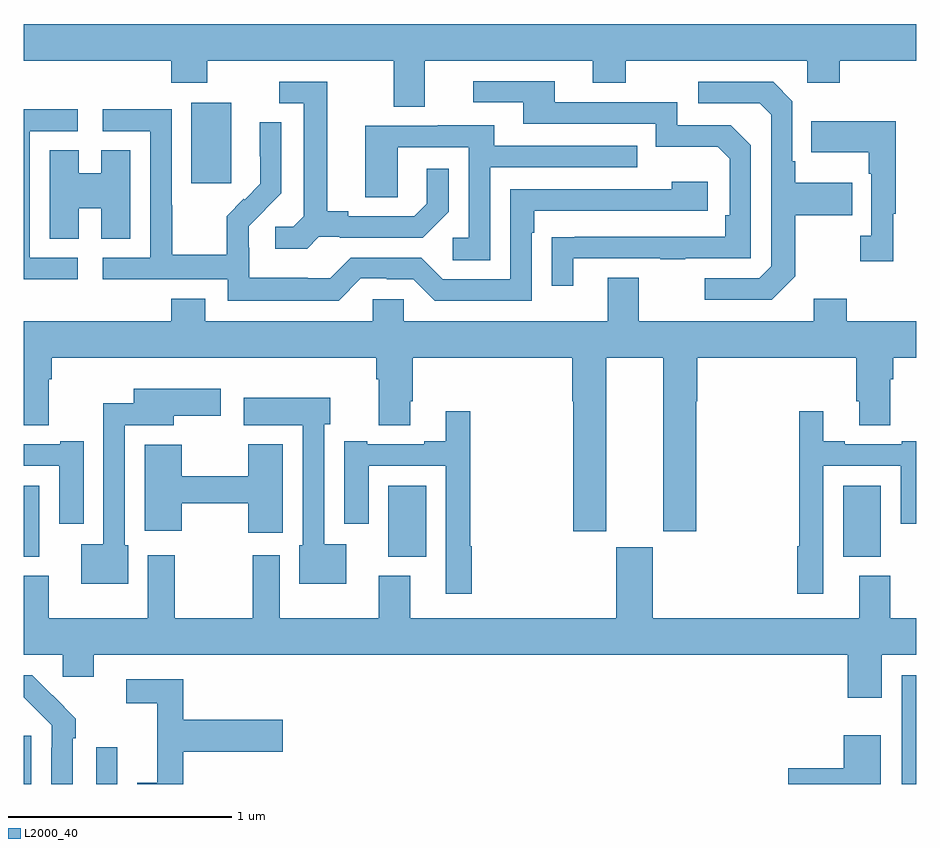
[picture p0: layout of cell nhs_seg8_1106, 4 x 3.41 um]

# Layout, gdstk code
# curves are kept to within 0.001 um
import gdstk
lib = gdstk.Library(unit=1e-6, precision=1e-09)
def R(c, l, rs):  # rectangles x0, y0, x1, y1
    for r in rs: c.add(gdstk.rectangle(r[:2], r[2:], *l))
def P(c, l, *ps):  # polygons
    for p in ps: c.add(gdstk.Polygon(p, *l))
L2000_40 = (2000, 40)

nhs_seg8_1106 = lib.new_cell('nhs_seg8_1106')
R(nhs_seg8_1106, L2000_40, [(181,1135.9,181.033,1136.116), (181.323,1135.9,181.419,1136.065), (184.935,1135.9,185,1136.388), (181,1136.918,181.069,1137.238), (182.633,1136.918,182.803,1137.238), (184.673,1136.918,184.843,1137.238), (181.751,1138.593,181.93,1138.954)])
P(nhs_seg8_1106, L2000_40, [(182.797,1139.144),(183.551,1139.144),(183.551,1139.045),(183.699,1139.045),(183.699,1139.144),(184.512,1139.144),(184.512,1139.045),(184.659,1139.045),(184.659,1139.144),(185,1139.144),(185,1139.308),(181,1139.308),(181,1139.144),(181.661,1139.144),(181.661,1139.045),(181.821,1139.045),(181.821,1139.144),(182.657,1139.144),(182.657,1138.936),(182.797,1138.936)],
  [(183.463,1138.257),(183.853,1138.257),(183.853,1138.252),(183.965,1138.252),(183.965,1138.257),(184.26,1138.257),(184.26,1138.764),(184.17,1138.854),(183.93,1138.854),(183.93,1138.956),(183.379,1138.956),(183.379,1139.052),(183.015,1139.052),(183.015,1138.956),(183.239,1138.956),(183.239,1138.86),(183.834,1138.86),(183.834,1138.757),(184.111,1138.757),(184.164,1138.704),(184.164,1138.45),(184.144,1138.45),(184.144,1138.353),(183.367,1138.352),(183.367,1138.134),(183.463,1138.134)],
  [(184.459,1138.177),(184.459,1138.45),(184.715,1138.45),(184.715,1138.597),(184.459,1138.597),(184.459,1138.693),(184.446,1138.693),(184.446,1138.962),(184.359,1139.049),(184.023,1139.049),(184.023,1138.953),(184.299,1138.953),(184.35,1138.902),(184.35,1138.221),(184.296,1138.167),(184.053,1138.167),(184.053,1138.071),(184.353,1138.071)],
  [(182.322,1138.353),(182.416,1138.353),(182.416,1138.35),(182.788,1138.35),(182.904,1138.466),(182.904,1138.66),(182.807,1138.66),(182.807,1138.503),(182.75,1138.446),(182.455,1138.446),(182.455,1138.469),(182.359,1138.469),(182.359,1139.049),(182.145,1139.049),(182.145,1138.953),(182.255,1138.953),(182.255,1138.445),(182.208,1138.398),(182.127,1138.398),(182.127,1138.301),(182.27,1138.301)],
  [(181.24,1138.26),(181.026,1138.26),(181.026,1138.827),(181.24,1138.827),(181.24,1138.926),(181,1138.926),(181,1138.164),(181.24,1138.164)],
  [(182.511,1138.167),(182.627,1138.167),(182.627,1138.164),(182.745,1138.164),(182.841,1138.068),(183.276,1138.068),(183.276,1138.373),(183.289,1138.373),(183.289,1138.47),(184.066,1138.47),(184.066,1138.6),(183.905,1138.6),(183.905,1138.566),(183.18,1138.566),(183.18,1138.164),(182.877,1138.164),(182.781,1138.26),(182.466,1138.26),(182.373,1138.167),(182.273,1138.167),(182.273,1138.171),(182.01,1138.171),(182.01,1138.305),(182.008,1138.305),(182.008,1138.402),(182.154,1138.55),(182.154,1138.868),(182.058,1138.868),(182.058,1138.714),(182.06,1138.714),(182.06,1138.592),(181.989,1138.521),(181.986,1138.524),(181.909,1138.447),(181.909,1138.273),(181.665,1138.273),(181.665,1138.496),(181.662,1138.496),(181.662,1138.926),(181.353,1138.926),(181.353,1138.827),(181.566,1138.827),(181.566,1138.26),(181.353,1138.26),(181.353,1138.164),(181.914,1138.164),(181.914,1138.067),(182.411,1138.067)],
  [(184.897,1138.457),(184.909,1138.457),(184.909,1138.873),(184.531,1138.873),(184.531,1138.733),(184.788,1138.733),(184.788,1138.637),(184.8,1138.637),(184.8,1138.358),(184.749,1138.358),(184.749,1138.245),(184.897,1138.245)],
  [(183.09,1138.665),(183.749,1138.665),(183.749,1138.761),(183.109,1138.761),(183.109,1138.855),(182.855,1138.855),(182.855,1138.851),(182.531,1138.851),(182.531,1138.531),(182.676,1138.531),(182.676,1138.755),(182.994,1138.755),(182.994,1138.35),(182.922,1138.35),(182.922,1138.249),(183.09,1138.249)],
  [(181.246,1138.481),(181.346,1138.481),(181.346,1138.345),(181.477,1138.345),(181.477,1138.742),(181.346,1138.742),(181.346,1138.639),(181.246,1138.639),(181.246,1138.742),(181.115,1138.742),(181.115,1138.345),(181.246,1138.345)],
  [(183.61,1137.812),(183.866,1137.812),(183.866,1137.033),(184.014,1137.033),(184.014,1137.616),(184.019,1137.616),(184.019,1137.812),(184.733,1137.812),(184.733,1137.616),(184.745,1137.616),(184.745,1137.508),(184.885,1137.508),(184.885,1137.716),(184.898,1137.716),(184.898,1137.812),(185,1137.812),(185,1137.976),(184.689,1137.976),(184.689,1138.075),(184.541,1138.075),(184.541,1137.976),(183.757,1137.976),(183.757,1138.171),(183.617,1138.171),(183.617,1137.976),(182.703,1137.976),(182.703,1138.074),(182.565,1138.074),(182.565,1137.976),(181.813,1137.976),(181.813,1138.075),(181.661,1138.075),(181.661,1137.976),(181,1137.976),(181,1137.508),(181.111,1137.508),(181.111,1137.716),(181.124,1137.716),(181.124,1137.812),(182.579,1137.812),(182.579,1137.716),(182.591,1137.716),(182.591,1137.508),(182.731,1137.508),(182.731,1137.616),(182.744,1137.616),(182.744,1137.812),(183.458,1137.812),(183.458,1137.616),(183.463,1137.616),(183.463,1137.033),(183.61,1137.033)],
  [(181.468,1136.97),(181.452,1136.97),(181.452,1137.509),(181.672,1137.509),(181.672,1137.551),(181.882,1137.551),(181.882,1137.673),(181.493,1137.673),(181.493,1137.608),(181.356,1137.608),(181.356,1136.974),(181.256,1136.974),(181.256,1136.798),(181.468,1136.798)],
  [(182.446,1136.974),(182.346,1136.974),(182.346,1137.513),(182.374,1137.513),(182.374,1137.631),(181.986,1137.631),(181.986,1137.509),(182.25,1137.509),(182.25,1136.97),(182.234,1136.97),(182.234,1136.798),(182.446,1136.798)],
  [(184.584,1137.327),(184.931,1137.327),(184.931,1137.066),(185,1137.066),(185,1137.436),(184.937,1137.436),(184.937,1137.423),(184.681,1137.423),(184.681,1137.436),(184.585,1137.436),(184.585,1137.571),(184.476,1137.571),(184.476,1136.966),(184.468,1136.966),(184.468,1136.754),(184.584,1136.754)],
  [(183.008,1136.966),(183.001,1136.966),(183.001,1137.571),(182.891,1137.571),(182.891,1137.436),(182.795,1137.436),(182.795,1137.423),(182.539,1137.423),(182.539,1137.436),(182.435,1137.436),(182.435,1137.066),(182.545,1137.066),(182.545,1137.327),(182.892,1137.327),(182.892,1136.754),(183.008,1136.754)],
  [(181.267,1137.436),(181.163,1137.436),(181.163,1137.423),(181,1137.423),(181,1137.327),(181.157,1137.327),(181.157,1137.066),(181.267,1137.066)],
  [(182.161,1137.424),(182.005,1137.424),(182.005,1137.281),(181.708,1137.281),(181.708,1137.421),(181.541,1137.421),(181.541,1137.035),(181.708,1137.035),(181.708,1137.16),(182.005,1137.16),(182.005,1137.027),(182.161,1137.027)],
  [(184.846,1136.48),(185,1136.48),(185,1136.644),(184.885,1136.644),(184.885,1136.833),(184.745,1136.833),(184.745,1136.644),(183.82,1136.644),(183.82,1136.961),(183.656,1136.961),(183.656,1136.644),(182.731,1136.644),(182.731,1136.833),(182.591,1136.833),(182.591,1136.644),(182.146,1136.644),(182.146,1136.926),(182.026,1136.926),(182.026,1136.644),(181.677,1136.644),(181.677,1136.926),(181.556,1136.926),(181.556,1136.644),(181.111,1136.644),(181.111,1136.833),(181,1136.833),(181,1136.48),(181.173,1136.48),(181.173,1136.382),(181.312,1136.382),(181.312,1136.48),(184.694,1136.48),(184.694,1136.286),(184.846,1136.286)],
  [(181.218,1136.105),(181.233,1136.105),(181.233,1136.193),(181.036,1136.388),(181,1136.388),(181,1136.289),(181.125,1136.163),(181.125,1136.063),(181.122,1136.063),(181.122,1135.9),(181.218,1135.9)],
  [(181.715,1136.045),(182.161,1136.045),(182.161,1136.187),(181.715,1136.187),(181.715,1136.37),(181.458,1136.37),(181.458,1136.262),(181.598,1136.262),(181.598,1135.906),(181.508,1135.906),(181.508,1135.9),(181.715,1135.9)],
  [(184.843,1136.119),(184.676,1136.119),(184.676,1135.97),(184.428,1135.97),(184.428,1135.9),(184.843,1135.9)])

lib.write_gds('nhs_seg8_1106.gds')
